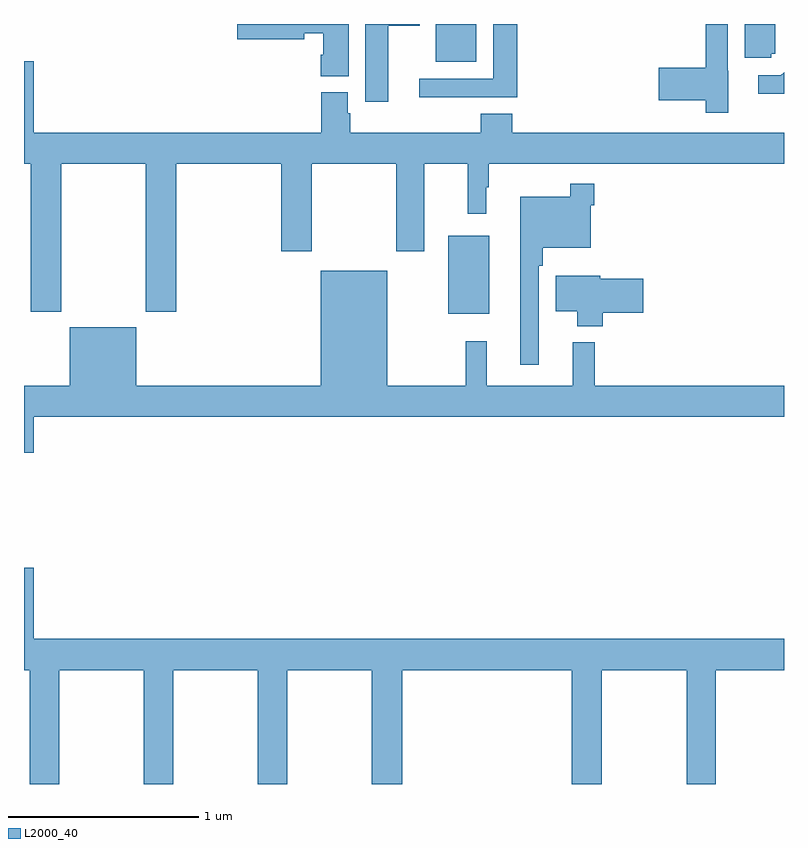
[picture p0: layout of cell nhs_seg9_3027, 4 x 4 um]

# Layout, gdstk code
import gdstk
lib = gdstk.Library(unit=1e-6, precision=1e-09)
def R(c, l, rs):  # rectangles x0, y0, x1, y1
    for r in rs: c.add(gdstk.rectangle(r[:2], r[2:], *l))
def P(c, l, *ps):  # polygons
    for p in ps: c.add(gdstk.Polygon(p, *l))
L2000_40 = (2000, 40)

nhs_seg9_3027 = lib.new_cell('nhs_seg9_3027')
R(nhs_seg9_3027, L2000_40, [(287.234,1184.975,287.449,1185.385), (287.168,1186.301,287.38,1186.5)])
P(nhs_seg9_3027, L2000_40, [(286.918,1186.49),(287.083,1186.49),(287.083,1186.5),(286.796,1186.5),(286.796,1186.092),(286.918,1186.092)],
  [(286.708,1186.5),(286.122,1186.5),(286.122,1186.421),(286.474,1186.421),(286.474,1186.452),(286.574,1186.452),(286.574,1186.337),(286.562,1186.337),(286.562,1186.225),(286.708,1186.225)],
  [(287.597,1186.5),(287.471,1186.5),(287.471,1186.212),(287.079,1186.212),(287.079,1186.115),(287.597,1186.115)],
  [(288.933,1186.344),(288.955,1186.344),(288.955,1186.5),(288.794,1186.5),(288.794,1186.323),(288.933,1186.323)],
  [(288.706,1186.254),(288.705,1186.254),(288.705,1186.5),(288.589,1186.5),(288.589,1186.271),(288.342,1186.271),(288.342,1186.1),(288.589,1186.1),(288.589,1186.032),(288.706,1186.032)],
  [(286.718,1186.029),(286.705,1186.029),(286.705,1186.14),(286.565,1186.14),(286.565,1185.928),(285.052,1185.928),(285.052,1186.303),(285,1186.303),(285,1185.764),(285.035,1185.764),(285.035,1184.985),(285.195,1184.985),(285.195,1185.764),(285.64,1185.764),(285.64,1184.985),(285.8,1184.985),(285.8,1185.764),(286.355,1185.764),(286.355,1185.303),(286.515,1185.303),(286.515,1185.764),(286.96,1185.764),(286.96,1185.303),(287.107,1185.303),(287.107,1185.764),(287.335,1185.764),(287.335,1185.501),(287.434,1185.501),(287.434,1185.641),(287.446,1185.641),(287.446,1185.764),(289,1185.764),(289,1185.928),(287.57,1185.928),(287.57,1186.027),(287.405,1186.027),(287.405,1185.928),(286.718,1185.928)],
  [(289,1186.246),(288.984,1186.23),(288.864,1186.23),(288.864,1186.133),(289,1186.133)],
  [(287.709,1185.227),(287.729,1185.227),(287.729,1185.323),(287.982,1185.323),(287.982,1185.545),(288.002,1185.545),(288.002,1185.658),(287.874,1185.658),(287.874,1185.592),(287.612,1185.592),(287.612,1184.706),(287.709,1184.706)],
  [(285.052,1184.432),(289,1184.432),(289,1184.596),(288.005,1184.596),(288.005,1184.824),(287.888,1184.824),(287.888,1184.596),(287.435,1184.596),(287.435,1184.83),(287.325,1184.83),(287.325,1184.596),(286.912,1184.596),(286.912,1185.202),(286.562,1185.202),(286.562,1184.596),(285.592,1184.596),(285.592,1184.905),(285.242,1184.905),(285.242,1184.596),(285,1184.596),(285,1184.244),(285.052,1184.244)],
  [(288.047,1184.98),(288.259,1184.98),(288.259,1185.158),(288.034,1185.158),(288.034,1185.175),(287.798,1185.175),(287.798,1184.987),(287.912,1184.987),(287.912,1184.909),(288.047,1184.909)],
  [(285.186,1183.1),(285.631,1183.1),(285.631,1182.5),(285.786,1182.5),(285.786,1183.1),(286.231,1183.1),(286.231,1182.5),(286.386,1182.5),(286.386,1183.1),(286.831,1183.1),(286.831,1182.5),(286.991,1182.5),(286.991,1183.1),(287.882,1183.1),(287.882,1182.5),(288.042,1182.5),(288.042,1183.1),(288.487,1183.1),(288.487,1182.5),(288.642,1182.5),(288.642,1183.1),(289,1183.1),(289,1183.264),(285.052,1183.264),(285.052,1183.639),(285,1183.639),(285,1183.1),(285.031,1183.1),(285.031,1182.5),(285.186,1182.5)])

lib.write_gds('nhs_seg9_3027.gds')
